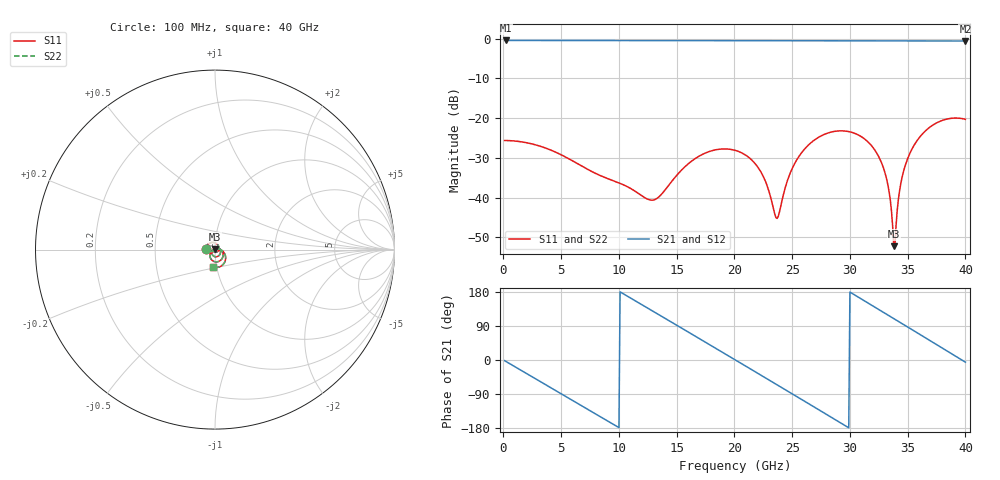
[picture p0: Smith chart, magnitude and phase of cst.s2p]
! thru_s4_L1: 2×thru, L1, 8 mm
! stackup: 4-layer 1.6 mm FR-4
! ports: 1, 2
! CST Studio Suite 2025.5 Release from 2025-05-30, time domain (FIT, hexahedral, PBA), 82360 mesh cells, 16 s
! mesh: {'lpw': 20, 'lpb': 20, 'minstep': 0.0, 'ratio': 20}; ports: port 1 (face); port 2 (face)
! interpolated from CST's 1001 samples to the case grid
# Hz S RI R 50
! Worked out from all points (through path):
!   400 points, 100 MHz to 40 GHz, reference 50 ohm
!   highest |S21| = -0.47 dB at 200 MHz (marker M1); lowest = -0.6 dB at 40 GHz (marker M2)
!   group delay of S21, straight-line fit = 50.4 ps
!   lowest |S11| = -52.2 dB at 33.8 GHz (marker M3), VSWR 1.00, Z = 49.8 + j0.161 ohm
!   |S11| at or under -10 dB: start of sweep to end of sweep
!   |S22| runs from -52.2 to -20.0 dB; largest |S21 - S12| = 5.1e-07
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1e8  -0.0523 0.00173  0.9472 -0.0295  0.9472 -0.0295  -0.0523 0.00173
2e8  -0.0522 0.00346  0.9459 -0.059  0.9459 -0.059  -0.0522 0.00346
3.8e9  -0.0101 0.04  0.3583 -0.8765  0.3583 -0.8765  -0.0101 0.04
6.8e9  0.0224 0.0108  -0.491 -0.8082  -0.491 -0.8082  0.0224 0.0108
1.01e10  -7.28e-05 -0.0151  -0.9447 0.00378  -0.9447 0.00378  -7.28e-05 -0.0151
1.34e10  -0.00292 0.0096  -0.4809 0.8125  -0.4809 0.8125  -0.00292 0.0096
1.64e10  0.0292 -0.00439  0.3742 0.8659  0.3742 0.8659  0.0292 -0.00439
1.84e10  0.0227 -0.0329  0.8118 0.4787  0.8118 0.4787  0.0227 -0.0329
2.01e10  -0.00146 -0.0391  0.9415 -0.00365  0.9415 -0.00365  -0.00146 -0.0391
2.22e10  -0.0171 -0.014  0.7382 -0.5828  0.7382 -0.5828  -0.0171 -0.014
2.37e10  -0.0019 0.00513  0.3891 -0.8557  0.3891 -0.8557  -0.0019 0.00513
2.5e10  0.0226 0.00522  0.0128 -0.9396  0.0128 -0.9396  0.0226 0.00522
2.67e10  0.0446 -0.0226  -0.4732 -0.8113  -0.4732 -0.8113  0.0446 -0.0226
3e10  -0.0024 -0.0671  -0.9381 0.0121  -0.9381 0.0121  -0.0024 -0.0671
3.22e10  -0.0275 -0.0273  -0.7047 0.6174  -0.7047 0.6174  -0.0275 -0.0273
3.34e10  -0.0113 -0.00301  -0.4199 0.8367  -0.4199 0.8367  -0.0113 -0.00301
3.38e10  -0.00184 0.00161  -0.3088 0.8834  -0.3088 0.8834  -0.00184 0.00161
3.39e10  0.000733 0.00238  -0.2801 0.8928  -0.2801 0.8928  0.000733 0.00238
3.44e10  0.0144 0.00372  -0.1332 0.9259  -0.1332 0.9259  0.0144 0.00372
3.55e10  0.0432 -0.00884  0.1967 0.9137  0.1967 0.9137  0.0432 -0.00884
3.79e10  0.0488 -0.0784  0.7794 0.5135  0.7794 0.5135  0.0488 -0.0784
4e10  -0.0129 -0.0957  0.9279 -0.0924  0.9279 -0.0924  -0.0129 -0.0957
